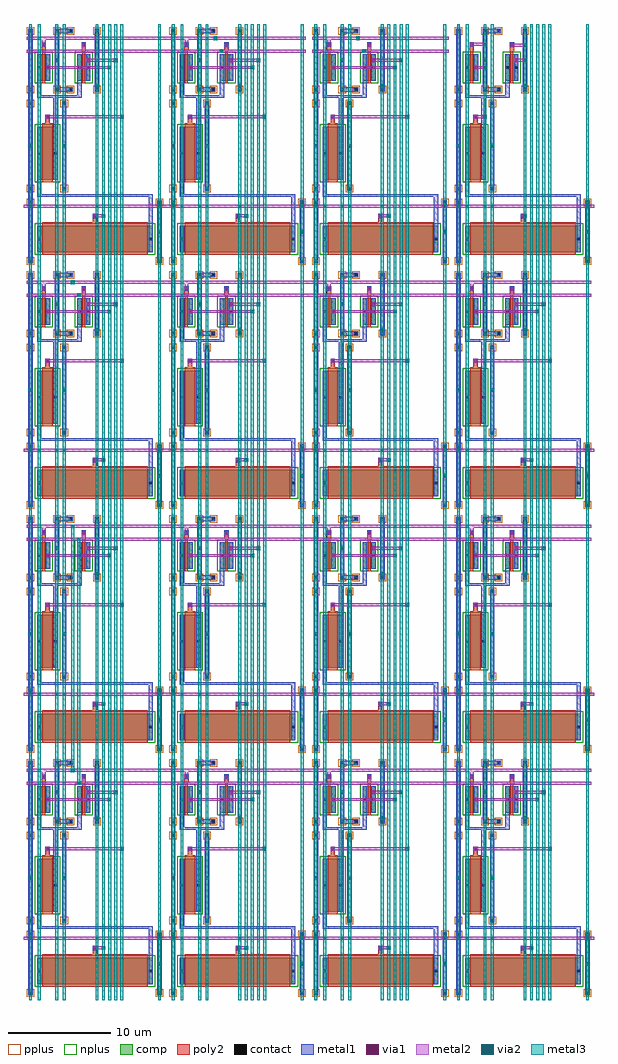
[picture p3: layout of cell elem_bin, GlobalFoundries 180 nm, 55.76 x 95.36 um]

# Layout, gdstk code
import gdstk
lib = gdstk.Library(unit=1e-6, precision=5e-10)
def R(c, l, rs):  # rectangles x0, y0, x1, y1
    for r in rs: c.add(gdstk.rectangle(r[:2], r[2:], *l))
def A(c, l, x, y, w, h, nx, ny, dx, dy):  # array of equal rectangles
    R(c, l, [(x+i*dx, y+j*dy, x+i*dx+w, y+j*dy+h) for i in range(nx) for j in range(ny)])
comp = (22, 0)
poly2 = (30, 0)
pplus = (31, 0)
nplus = (32, 0)
contact = (33, 0)
metal1 = (34, 0)
via1 = (35, 0)
metal2 = (36, 0)
via2 = (38, 0)
metal3 = (42, 0)

prim_cs = lib.new_cell('prim_cs')
R(prim_cs, comp, [(-0.86,-1.07,-0.44,-0.65), (11.74,-1.07,12.16,-0.65), (0,0,11.3,2.6), (-0.86,4.67,-0.44,5.09), (11.74,4.67,12.16,5.09)])
R(prim_cs, poly2, [(0.5,-0.25,10.8,2.6), (0.5,2.6,10.8,2.95), (5.44,2.95,5.86,3.77)])
R(prim_cs, pplus, [(-1.02,-1.23,-0.28,-0.49), (11.58,-1.23,12.32,-0.49), (-1.02,4.51,-0.28,5.25), (11.58,4.51,12.32,5.25)])
R(prim_cs, nplus, [(-0.25,-0.25,11.55,2.85)])
R(prim_cs, contact, [(-0.76,-0.97,-0.54,-0.75), (11.84,-0.97,12.06,-0.75), (0.1,1.19,0.32,1.41), (10.98,1.19,11.2,1.41), (5.54,3.45,5.76,3.67), (-0.76,4.77,-0.54,4.99), (11.84,4.77,12.06,4.99)])
R(prim_cs, metal1, [(-0.86,-1.07,-0.44,-0.65), (11.74,-1.07,12.16,-0.65), (0,0,0.42,2.6), (10.88,0,11.3,2.6), (5.44,3.35,5.86,3.77), (-0.86,4.67,-0.44,5.09), (11.74,4.67,12.16,5.09)])

prim_cas = lib.new_cell('prim_cas')
R(prim_cas, comp, [(-0.86,-1.07,-0.44,-0.65), (2.44,-1.07,2.86,-0.65), (0,0,2,5.2), (-0.86,7.27,-0.44,7.69), (2.44,7.27,2.86,7.69)])
R(prim_cas, poly2, [(0.5,-0.25,1.5,5.2), (0.5,5.2,1.5,5.55), (0.79,5.55,1.21,6.37)])
R(prim_cas, pplus, [(-1.02,-1.23,-0.28,-0.49), (2.28,-1.23,3.02,-0.49), (-1.02,7.11,-0.28,7.85), (2.28,7.11,3.02,7.85)])
R(prim_cas, nplus, [(-0.25,-0.25,2.25,5.45)])
R(prim_cas, contact, [(-0.76,-0.97,-0.54,-0.75), (2.54,-0.97,2.76,-0.75), (0.1,2.49,0.32,2.71), (1.68,2.49,1.9,2.71), (0.89,6.05,1.11,6.27), (-0.76,7.37,-0.54,7.59), (2.54,7.37,2.76,7.59)])
R(prim_cas, metal1, [(-0.86,-1.07,-0.44,-0.65), (2.44,-1.07,2.86,-0.65), (0,0,0.42,5.2), (1.58,0,2,5.2), (0.79,5.95,1.21,6.37), (-0.86,7.27,-0.44,7.69), (2.44,7.27,2.86,7.69)])

prim_sw = lib.new_cell('prim_sw')
R(prim_sw, comp, [(-0.86,-1.07,-0.44,-0.65), (1.72,-1.07,2.14,-0.65), (0,0,1.28,2.6), (-0.86,4.67,-0.44,5.09), (1.72,4.67,2.14,5.09)])
R(prim_sw, poly2, [(0.5,-0.25,0.78,2.6), (0.5,2.6,0.78,2.95), (0.43,2.95,0.85,3.77)])
R(prim_sw, pplus, [(-1.02,-1.23,-0.28,-0.49), (1.56,-1.23,2.3,-0.49), (-1.02,4.51,-0.28,5.25), (1.56,4.51,2.3,5.25)])
R(prim_sw, nplus, [(-0.25,-0.25,1.53,2.85)])
R(prim_sw, contact, [(-0.76,-0.97,-0.54,-0.75), (1.82,-0.97,2.04,-0.75), (0.1,1.19,0.32,1.41), (0.96,1.19,1.18,1.41), (0.53,3.45,0.75,3.67), (-0.76,4.77,-0.54,4.99), (1.82,4.77,2.04,4.99)])
R(prim_sw, metal1, [(-0.86,-1.07,-0.44,-0.65), (1.72,-1.07,2.14,-0.65), (0,0,0.42,2.6), (0.86,0,1.28,2.6), (0.43,3.35,0.85,3.77), (-0.86,4.67,-0.44,5.09), (1.72,4.67,2.14,5.09)])

unit_cell = lib.new_cell('unit_cell')
R(unit_cell, metal1, [(0.16,0.16,0.58,23.08), (12.76,0.16,13.18,6.32), (11.9,3.83,12.32,6.92), (1.02,6.64,12.32,6.92), (1.02,6.64,1.44,8.31), (3.46,7.24,3.88,16), (2.6,13.51,3.02,16.6), (1.02,16.32,1.44,17.99), (1.02,16.32,5.36,16.6), (4.94,16.32,5.36,17.99), (2.74,16.92,3.16,23.08), (2.74,16.92,4.5,17.34), (6.66,16.92,7.08,23.08), (2.74,22.66,4.5,23.08)])
R(unit_cell, via1, [(1.1,2.4,1.36,2.66), (12.84,3.11,13.1,3.37), (6.54,4.66,6.8,4.92), (0.24,11.49,0.5,11.75), (3.54,11.49,3.8,11.75), (1.89,14.34,2.15,14.6), (6.74,17.37,7,17.63), (1.96,19.16,2.22,19.42), (5.88,19.86,6.14,20.12), (2.82,19.87,3.08,20.13), (5.45,21.34,5.71,21.6), (1.53,21.42,1.79,21.68)])
R(unit_cell, metal2, [(1.05,2.35,1.41,2.71), (12.79,3.06,13.15,3.42), (6.49,4.61,6.85,4.97), (7.32,4.61,7.68,4.97), (6.67,4.65,7.5,4.93), (-0.3,5.6,13.64,5.88), (0.19,11.44,0.55,11.8), (3.49,11.44,3.85,11.8), (1.84,14.29,2.2,14.65), (9.12,14.29,9.48,14.65), (2.02,14.33,9.3,14.61), (6.69,17.32,7.05,17.68), (1.91,19.11,2.27,19.47), (7.92,19.11,8.28,19.47), (2.09,19.15,8.1,19.43), (5.83,19.81,6.19,20.17), (8.52,19.81,8.88,20.17), (2.77,19.82,3.13,20.18), (6.01,19.85,8.7,20.13), (0,20.75,13.34,21.03), (5.4,20.89,5.76,21.47), (5.4,21.29,5.76,21.65), (1.48,21.37,1.84,21.73), (1.48,21.55,1.84,22.14), (0,22,13.34,22.28)])
R(unit_cell, via2, [(1.1,2.4,1.36,2.66), (12.84,3.11,13.1,3.37), (7.37,4.66,7.63,4.92), (0.24,5.61,0.5,5.87), (1.1,5.61,1.36,5.87), (2.82,5.61,3.08,5.87), (3.54,5.61,3.8,5.87), (6.74,5.61,7,5.87), (12.84,5.61,13.1,5.87), (0.24,11.49,0.5,11.75), (3.54,11.49,3.8,11.75), (9.17,14.34,9.43,14.6), (6.74,17.37,7,17.63), (7.97,19.16,8.23,19.42), (8.57,19.86,8.83,20.12), (2.82,19.87,3.08,20.13)])
A(unit_cell, metal3, 7.36, -0.3, 0.28, 23.84, 4, 1, 0.6, 0)
R(unit_cell, metal3, [(0.23,-0.3,0.51,23.54), (1.09,-0.3,1.37,23.54), (2.81,-0.3,3.09,23.54), (3.53,-0.3,3.81,23.54), (6.73,-0.3,7.01,23.54), (12.83,-0.3,13.11,23.54), (1.05,2.35,1.41,2.71), (12.79,3.06,13.15,3.42), (7.32,4.61,7.68,4.97), (0.19,11.44,0.55,11.8), (3.49,11.44,3.85,11.8), (9.12,14.29,9.48,14.65), (6.69,17.32,7.05,17.68), (7.92,19.11,8.28,19.47), (8.52,19.81,8.88,20.17), (2.77,19.82,3.13,20.18)])
unit_cell.add(gdstk.Reference(prim_cs, (1.02,1.23)))
unit_cell.add(gdstk.Reference(prim_cas, (1.02,8.31)))
unit_cell.add(gdstk.Reference(prim_sw, (1.02,17.99)))
unit_cell.add(gdstk.Reference(prim_sw, (4.94,17.99)))

elem_b3 = lib.new_cell('elem_b3')
A(elem_b3, metal2, 13.29, 20.75, 0.7, 0.28, 3, 2, 13.94, 1.25)
A(elem_b3, metal2, 13.29, 44.59, 0.7, 0.28, 3, 2, 13.94, 1.25)
R(elem_b3, via2, [(4.97,20.76,5.23,21.02), (4.97,20.76,5.23,21.02), (4.37,22.01,4.63,22.27), (4.37,22.01,4.63,22.27), (4.97,44.6,5.23,44.86), (4.37,45.85,4.63,46.11)])
R(elem_b3, metal3, [(4.92,20.71,5.28,21.07), (4.96,20.75,5.24,44.87), (4.32,21.96,4.68,22.32), (4.36,22,4.64,46.12)])
elem_b3.add(gdstk.Reference(unit_cell, (0,0)))
elem_b3.add(gdstk.Reference(unit_cell, (13.94,0)))
elem_b3.add(gdstk.Reference(unit_cell, (27.88,0)))
elem_b3.add(gdstk.Reference(unit_cell, (41.82,0)))
elem_b3.add(gdstk.Reference(unit_cell, (0,23.84)))
elem_b3.add(gdstk.Reference(unit_cell, (13.94,23.84)))
elem_b3.add(gdstk.Reference(unit_cell, (27.88,23.84)))
elem_b3.add(gdstk.Reference(unit_cell, (41.82,23.84)))

elem_b2 = lib.new_cell('elem_b2')
A(elem_b2, metal2, 13.29, 68.43, 0.7, 0.28, 3, 2, 13.94, 1.25)
R(elem_b2, via2, [(4.97,68.44,5.23,68.7), (4.37,69.69,4.63,69.95)])
R(elem_b2, metal3, [(4.92,68.39,5.28,68.75), (4.32,69.64,4.68,70)])
elem_b2.add(gdstk.Reference(unit_cell, (0,47.68)))
elem_b2.add(gdstk.Reference(unit_cell, (13.94,47.68)))
elem_b2.add(gdstk.Reference(unit_cell, (27.88,47.68)))
elem_b2.add(gdstk.Reference(unit_cell, (41.82,47.68)))

elem_b1 = lib.new_cell('elem_b1')
R(elem_b1, metal2, [(13.29,92.27,13.99,92.55), (13.29,93.52,13.99,93.8)])
R(elem_b1, via2, [(18.91,92.28,19.17,92.54), (18.31,93.53,18.57,93.79)])
R(elem_b1, metal3, [(18.86,92.23,19.22,92.59), (18.26,93.48,18.62,93.84)])
elem_b1.add(gdstk.Reference(unit_cell, (0,71.52)))
elem_b1.add(gdstk.Reference(unit_cell, (13.94,71.52)))

elem_b0 = lib.new_cell('elem_b0')
R(elem_b0, via2, [(32.85,92.28,33.11,92.54), (32.25,93.53,32.51,93.79)])
R(elem_b0, metal3, [(32.8,92.23,33.16,92.59), (32.2,93.48,32.56,93.84)])
elem_b0.add(gdstk.Reference(unit_cell, (27.88,71.52)))

dummy_cell = lib.new_cell('dummy_cell')
R(dummy_cell, metal1, [(0.16,0.16,0.58,23.08), (12.76,0.16,13.18,6.32), (11.9,3.83,12.32,6.92), (1.02,6.64,12.32,6.92), (1.02,6.64,1.44,8.31), (3.46,7.24,3.88,16), (2.6,13.51,3.02,16.6), (1.02,16.32,1.44,17.99), (1.02,16.32,5.36,16.6), (4.94,16.32,5.36,17.99), (2.74,16.92,3.16,23.08), (2.74,16.92,4.5,17.34), (6.66,16.92,7.08,23.08), (2.74,22.66,4.5,23.08)])
R(dummy_cell, via1, [(1.1,2.4,1.36,2.66), (12.84,3.11,13.1,3.37), (6.54,4.66,6.8,4.92), (0.24,11.49,0.5,11.75), (3.54,11.49,3.8,11.75), (1.89,14.34,2.15,14.6), (6.74,17.37,7,17.63), (1.96,19.16,2.22,19.42), (5.88,19.86,6.14,20.12), (2.82,19.87,3.08,20.13), (5.45,21.34,5.71,21.6), (1.53,21.42,1.79,21.68)])
R(dummy_cell, metal2, [(1.05,2.35,1.41,2.71), (12.79,3.06,13.15,3.42), (6.49,4.61,6.85,4.97), (6.69,4.61,7.05,4.97), (6.67,4.65,6.87,4.93), (-0.3,5.6,13.64,5.88), (0.19,11.44,0.55,11.8), (3.49,11.44,3.85,11.8), (1.84,14.29,2.2,14.65), (2.77,14.29,3.13,14.65), (2.02,14.33,2.95,14.61), (6.69,17.32,7.05,17.68), (1.91,19.11,2.27,19.47), (2.77,19.11,3.13,19.47), (2.09,19.15,2.95,19.43), (5.83,19.81,6.19,20.17), (6.69,19.81,7.05,20.17), (2.77,19.82,3.13,20.18), (6.01,19.85,6.87,20.13), (5.4,21.29,5.76,21.65), (6.69,21.29,7.05,21.65), (5.58,21.33,6.87,21.61), (1.48,21.37,1.84,21.73), (2.77,21.37,3.13,21.73), (1.66,21.41,2.95,21.69)])
R(dummy_cell, via2, [(1.1,2.4,1.36,2.66), (12.84,3.11,13.1,3.37), (6.74,4.66,7,4.92), (0.24,5.61,0.5,5.87), (1.1,5.61,1.36,5.87), (2.82,5.61,3.08,5.87), (3.54,5.61,3.8,5.87), (6.74,5.61,7,5.87), (12.84,5.61,13.1,5.87), (0.24,11.49,0.5,11.75), (3.54,11.49,3.8,11.75), (2.82,14.34,3.08,14.6), (6.74,17.37,7,17.63), (2.82,19.16,3.08,19.42), (6.74,19.86,7,20.12), (2.82,19.87,3.08,20.13), (6.74,21.34,7,21.6), (2.82,21.42,3.08,21.68)])
R(dummy_cell, metal3, [(0.23,-0.3,0.51,23.54), (1.09,-0.3,1.37,23.54), (2.81,-0.3,3.09,23.54), (3.53,-0.3,3.81,23.54), (6.73,-0.3,7.01,23.54), (12.83,-0.3,13.11,23.54), (1.05,2.35,1.41,2.71), (12.79,3.06,13.15,3.42), (6.69,4.61,7.05,4.97), (0.19,11.44,0.55,11.8), (3.49,11.44,3.85,11.8), (2.77,14.29,3.13,14.65), (6.69,17.32,7.05,17.68), (2.77,19.11,3.13,19.47), (6.69,19.81,7.05,20.17), (2.77,19.82,3.13,20.18), (6.69,21.29,7.05,21.65), (2.77,21.37,3.13,21.73)])
dummy_cell.add(gdstk.Reference(prim_cs, (1.02,1.23)))
dummy_cell.add(gdstk.Reference(prim_cas, (1.02,8.31)))
dummy_cell.add(gdstk.Reference(prim_sw, (1.02,17.99)))
dummy_cell.add(gdstk.Reference(prim_sw, (4.94,17.99)))

elem_bin = lib.new_cell('elem_bin')
A(elem_bin, metal3, 49.18, 71.22, 0.28, 23.84, 4, 1, 0.6, 0)
elem_bin.add(gdstk.Reference(elem_b3, (0,0)))
elem_bin.add(gdstk.Reference(elem_b2, (0,0)))
elem_bin.add(gdstk.Reference(elem_b1, (0,0)))
elem_bin.add(gdstk.Reference(elem_b0, (0,0)))
elem_bin.add(gdstk.Reference(dummy_cell, (41.82,71.52)))

lib.write_gds('elem_bin.gds')
